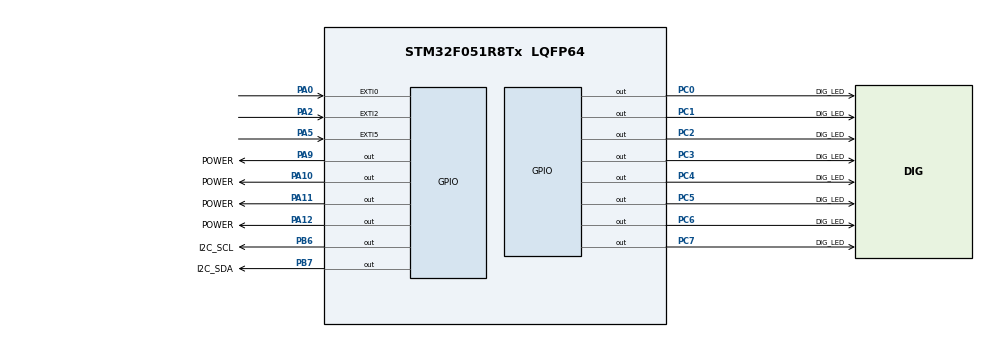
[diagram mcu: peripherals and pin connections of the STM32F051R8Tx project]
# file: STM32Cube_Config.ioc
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Mcu.Family=STM32F0
Mcu.Name=STM32F051R8Tx
Mcu.Package=LQFP64
NVIC.EXTI0_1_IRQn=true\:0\:0\:false\:false\:true\:true\:true\:true
NVIC.EXTI2_3_IRQn=true\:0\:0\:false\:false\:true\:true\:true\:true
NVIC.EXTI4_15_IRQn=true\:0\:0\:false\:false\:true\:true\:true\:true
NVIC.TIM15_IRQn=true\:0\:0\:false\:false\:true\:true\:true\:true
NVIC.TIM2_IRQn=true\:0\:0\:false\:false\:true\:true\:true\:true
NVIC.TIM3_IRQn=true\:0\:0\:false\:false\:true\:true\:true\:true
PA0.GPIO_PuPd=GPIO_PULLUP
PA0.Signal=GPXTI0
PA10.GPIO_Label=POWER
PA10.GPIO_ModeDefaultOutputPP=GPIO_MODE_OUTPUT_PP
PA10.GPIO_PuPd=GPIO_NOPULL
PA10.GPIO_Speed=GPIO_SPEED_FREQ_LOW
PA10.PinState=GPIO_PIN_SET
PA10.Signal=GPIO_Output
PA11.GPIO_Label=POWER
PA11.GPIO_ModeDefaultOutputPP=GPIO_MODE_OUTPUT_PP
PA11.GPIO_PuPd=GPIO_NOPULL
PA11.GPIO_Speed=GPIO_SPEED_FREQ_LOW
PA11.PinState=GPIO_PIN_SET
PA11.Signal=GPIO_Output
PA12.GPIO_Label=POWER
PA12.GPIO_ModeDefaultOutputPP=GPIO_MODE_OUTPUT_PP
PA12.GPIO_PuPd=GPIO_NOPULL
PA12.GPIO_Speed=GPIO_SPEED_FREQ_LOW
PA12.PinState=GPIO_PIN_SET
PA12.Signal=GPIO_Output
PA13.Mode=Serial_Wire
PA13.Signal=SYS_SWDIO
PA14.Mode=Serial_Wire
PA14.Signal=SYS_SWCLK
PA2.GPIO_PuPd=GPIO_PULLUP
PA2.Signal=GPXTI2
PA5.GPIO_PuPd=GPIO_PULLUP
PA5.Signal=GPXTI5
PA9.GPIO_Label=POWER
PA9.GPIO_ModeDefaultOutputPP=GPIO_MODE_OUTPUT_PP
PA9.GPIO_PuPd=GPIO_NOPULL
PA9.GPIO_Speed=GPIO_SPEED_FREQ_LOW
PA9.PinState=GPIO_PIN_SET
PA9.Signal=GPIO_Output
PB6.GPIO_Label=I2C_SCL
PB6.GPIO_ModeDefaultOutputPP=GPIO_MODE_OUTPUT_OD
PB6.GPIO_PuPd=GPIO_NOPULL
PB6.PinState=GPIO_PIN_SET
PB6.Signal=GPIO_Output
PB7.GPIO_Label=I2C_SDA
PB7.GPIO_ModeDefaultOutputPP=GPIO_MODE_OUTPUT_OD
PB7.GPIO_PuPd=GPIO_NOPULL
PB7.PinState=GPIO_PIN_SET
PB7.Signal=GPIO_Output
PC0.GPIO_Label=DIG_LED
PC0.GPIO_ModeDefaultOutputPP=GPIO_MODE_OUTPUT_PP
PC0.GPIO_PuPd=GPIO_NOPULL
PC0.GPIO_Speed=GPIO_SPEED_FREQ_LOW
PC0.PinState=GPIO_PIN_SET
PC0.Signal=GPIO_Output
PC1.GPIO_Label=DIG_LED
PC1.GPIO_ModeDefaultOutputPP=GPIO_MODE_OUTPUT_PP
PC1.GPIO_PuPd=GPIO_NOPULL
PC1.GPIO_Speed=GPIO_SPEED_FREQ_LOW
PC1.PinState=GPIO_PIN_SET
PC1.Signal=GPIO_Output
PC2.GPIO_Label=DIG_LED
PC2.GPIO_ModeDefaultOutputPP=GPIO_MODE_OUTPUT_PP
PC2.GPIO_PuPd=GPIO_NOPULL
PC2.GPIO_Speed=GPIO_SPEED_FREQ_LOW
PC2.PinState=GPIO_PIN_SET
PC2.Signal=GPIO_Output
PC3.GPIO_Label=DIG_LED
PC3.GPIO_ModeDefaultOutputPP=GPIO_MODE_OUTPUT_PP
PC3.GPIO_PuPd=GPIO_NOPULL
PC3.GPIO_Speed=GPIO_SPEED_FREQ_LOW
PC3.PinState=GPIO_PIN_SET
PC3.Signal=GPIO_Output
PC4.GPIO_Label=DIG_LED
PC4.GPIO_ModeDefaultOutputPP=GPIO_MODE_OUTPUT_PP
PC4.GPIO_PuPd=GPIO_NOPULL
PC4.GPIO_Speed=GPIO_SPEED_FREQ_LOW
PC4.PinState=GPIO_PIN_SET
PC4.Signal=GPIO_Output
PC5.GPIO_Label=DIG_LED
PC5.GPIO_ModeDefaultOutputPP=GPIO_MODE_OUTPUT_PP
PC5.GPIO_PuPd=GPIO_NOPULL
PC5.GPIO_Speed=GPIO_SPEED_FREQ_LOW
PC5.PinState=GPIO_PIN_SET
PC5.Signal=GPIO_Output
PC6.GPIO_Label=DIG_LED
PC6.GPIO_ModeDefaultOutputPP=GPIO_MODE_OUTPUT_PP
PC6.GPIO_PuPd=GPIO_NOPULL
PC6.GPIO_Speed=GPIO_SPEED_FREQ_LOW
PC6.PinState=GPIO_PIN_SET
PC6.Signal=GPIO_Output
PC7.GPIO_Label=DIG_LED
PC7.GPIO_ModeDefaultOutputPP=GPIO_MODE_OUTPUT_PP
PC7.GPIO_PuPd=GPIO_NOPULL
PC7.GPIO_Speed=GPIO_SPEED_FREQ_LOW
PC7.PinState=GPIO_PIN_SET
PC7.Signal=GPIO_Output
ProjectManager.HeapSize=0x200
ProjectManager.StackSize=0x400
ProjectManager.TargetToolchain=MDK-ARM V5.32
TIM15.Period=199
TIM15.Prescaler=7999
TIM2.Period=49
TIM2.Prescaler=799
TIM3.Period=19999
TIM3.Prescaler=23999
VP_TIM15_VS_ClockSourceINT.Mode=Internal
VP_TIM2_VS_ClockSourceINT.Mode=Internal
VP_TIM3_VS_ClockSourceINT.Mode=Internal
board=custom

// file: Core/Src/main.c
/* USER CODE BEGIN Header */
/**
  ******************************************************************************
  * @file           : main.c
  * @brief          : Main program body
  ******************************************************************************
  * @attention
  *
  * Copyright (c) 2023 STMicroelectronics.
  * All rights reserved.
  *
  * This software is licensed under terms that can be found in the LICENSE file
  * in the root directory of this software component.
  * If no LICENSE file comes with this software, it is provided AS-IS.
  *
  ******************************************************************************
  */
/* USER CODE END Header */
#include "main.h"

/* USER CODE BEGIN Includes */
#include "I2C_SW.h"
#include "DS1307_CONTROL.h"
/* USER CODE END Includes */

/* USER CODE BEGIN PD */
//all the led value above is not toggle the dp led
#define LED_VALUE_0 ((uint16_t)0XC0)
#define LED_VALUE_1 ((uint16_t)0XF9)
#define LED_VALUE_2 ((uint16_t)0XA4)
#define LED_VALUE_3 ((uint16_t)0XB0)
#define LED_VALUE_4 ((uint16_t)0X99)
#define LED_VALUE_5 ((uint16_t)0X92)
#define LED_VALUE_6 ((uint16_t)0X82)
#define LED_VALUE_7 ((uint16_t)0XF8)
#define LED_VALUE_8 ((uint16_t)0X80)
#define LED_VALUE_9 ((uint16_t)0X90)
#define LED_VALUE_A ((uint16_t)0X88)
#define LED_VALUE_B ((uint16_t)0X83)
#define LED_VALUE_C ((uint16_t)0XC6)
#define LED_VALUE_D ((uint16_t)0XA1)
#define LED_VALUE_E ((uint16_t)0X86)
#define LED_VALUE_F ((uint16_t)0X8E)
const uint16_t led_array[16] = {LED_VALUE_0,LED_VALUE_1, LED_VALUE_2,
LED_VALUE_3, LED_VALUE_4, LED_VALUE_5, LED_VALUE_6, LED_VALUE_7, LED_VALUE_8,
LED_VALUE_9,LED_VALUE_A,LED_VALUE_B,LED_VALUE_C, LED_VALUE_D,LED_VALUE_E,LED_VALUE_F};
uint8_t min,hours ;

uint8_t digits[4] = {0};
/* USER CODE END PD */

TIM_HandleTypeDef htim2;
TIM_HandleTypeDef htim3;
TIM_HandleTypeDef htim15;

void SystemClock_Config(void);
static void MX_GPIO_Init(void);
static void MX_TIM2_Init(void);
static void MX_TIM15_Init(void);
static void MX_TIM3_Init(void);
/* USER CODE BEGIN PFP */
void set_led(void)
{
	digits[2]=min/10;
	digits[3]=min%10;
	digits[0]=hours/10;
	digits[1]=hours%10;
	__NOP();
	__NOP();
	__NOP();
	__NOP();
}
void get_time(void)
{
	min = DS1307_getMin();
	hours = DS1307_getHour();
}
/* USER CODE END PFP */

int main(void)
{

  /* MCU Configuration--------------------------------------------------------*/

  /* Reset of all peripherals, Initializes the Flash interface and the Systick. */
  HAL_Init();

  /* Configure the system clock */
  SystemClock_Config();

  /* Initialize all configured peripherals */
  MX_GPIO_Init();
  MX_TIM2_Init();
  MX_TIM15_Init();
  MX_TIM3_Init();
  /* USER CODE BEGIN 2 */
	HAL_TIM_Base_Start_IT(&htim2);
	HAL_TIM_Base_Start_IT(&htim15);
	DS1307_WriteByte(0x07,0x10);
  /* USER CODE END 2 */

  /* Infinite loop */
  /* USER CODE BEGIN WHILE */
  while (1)
  {
		get_time();
		set_led();
    /* USER CODE END WHILE */

  }
}

void SystemClock_Config(void)
{
  RCC_OscInitTypeDef RCC_OscInitStruct = {0};
  RCC_ClkInitTypeDef RCC_ClkInitStruct = {0};

  /** Initializes the RCC Oscillators according to the specified parameters
  * in the RCC_OscInitTypeDef structure.
  */
  RCC_OscInitStruct.OscillatorType = RCC_OSCILLATORTYPE_HSI;
  RCC_OscInitStruct.HSIState = RCC_HSI_ON;
  RCC_OscInitStruct.HSICalibrationValue = RCC_HSICALIBRATION_DEFAULT;
  RCC_OscInitStruct.PLL.PLLState = RCC_PLL_NONE;
  if (HAL_RCC_OscConfig(&RCC_OscInitStruct) != HAL_OK)
  {
    Error_Handler();
  }

  /** Initializes the CPU, AHB and APB buses clocks
  */
  RCC_ClkInitStruct.ClockType = RCC_CLOCKTYPE_HCLK|RCC_CLOCKTYPE_SYSCLK
                              |RCC_CLOCKTYPE_PCLK1;
  RCC_ClkInitStruct.SYSCLKSource = RCC_SYSCLKSOURCE_HSI;
  RCC_ClkInitStruct.AHBCLKDivider = RCC_SYSCLK_DIV1;
  RCC_ClkInitStruct.APB1CLKDivider = RCC_HCLK_DIV1;

  if (HAL_RCC_ClockConfig(&RCC_ClkInitStruct, FLASH_LATENCY_0) != HAL_OK)
  {
    Error_Handler();
  }
}

static void MX_TIM2_Init(void)
{

  TIM_ClockConfigTypeDef sClockSourceConfig = {0};
  TIM_MasterConfigTypeDef sMasterConfig = {0};

  htim2.Instance = TIM2;
  htim2.Init.Prescaler = 799;
  htim2.Init.CounterMode = TIM_COUNTERMODE_UP;
  htim2.Init.Period = 49;
  htim2.Init.ClockDivision = TIM_CLOCKDIVISION_DIV1;
  htim2.Init.AutoReloadPreload = TIM_AUTORELOAD_PRELOAD_DISABLE;
  if (HAL_TIM_Base_Init(&htim2) != HAL_OK)
  {
    Error_Handler();
  }
  sClockSourceConfig.ClockSource = TIM_CLOCKSOURCE_INTERNAL;
  if (HAL_TIM_ConfigClockSource(&htim2, &sClockSourceConfig) != HAL_OK)
  {
    Error_Handler();
  }
  sMasterConfig.MasterOutputTrigger = TIM_TRGO_RESET;
  sMasterConfig.MasterSlaveMode = TIM_MASTERSLAVEMODE_DISABLE;
  if (HAL_TIMEx_MasterConfigSynchronization(&htim2, &sMasterConfig) != HAL_OK)
  {
    Error_Handler();
  }

}

static void MX_TIM3_Init(void)
{

  TIM_ClockConfigTypeDef sClockSourceConfig = {0};
  TIM_MasterConfigTypeDef sMasterConfig = {0};

  htim3.Instance = TIM3;
  htim3.Init.Prescaler = 23999;
  htim3.Init.CounterMode = TIM_COUNTERMODE_UP;
  htim3.Init.Period = 19999;
  htim3.Init.ClockDivision = TIM_CLOCKDIVISION_DIV1;
  htim3.Init.AutoReloadPreload = TIM_AUTORELOAD_PRELOAD_DISABLE;
  if (HAL_TIM_Base_Init(&htim3) != HAL_OK)
  {
    Error_Handler();
  }
  sClockSourceConfig.ClockSource = TIM_CLOCKSOURCE_INTERNAL;
  if (HAL_TIM_ConfigClockSource(&htim3, &sClockSourceConfig) != HAL_OK)
  {
    Error_Handler();
  }
  sMasterConfig.MasterOutputTrigger = TIM_TRGO_RESET;
  sMasterConfig.MasterSlaveMode = TIM_MASTERSLAVEMODE_DISABLE;
  if (HAL_TIMEx_MasterConfigSynchronization(&htim3, &sMasterConfig) != HAL_OK)
  {
    Error_Handler();
  }

}

static void MX_TIM15_Init(void)
{

  TIM_ClockConfigTypeDef sClockSourceConfig = {0};
  TIM_MasterConfigTypeDef sMasterConfig = {0};

  htim15.Instance = TIM15;
  htim15.Init.Prescaler = 7999;
  htim15.Init.CounterMode = TIM_COUNTERMODE_UP;
  htim15.Init.Period = 199;
  htim15.Init.ClockDivision = TIM_CLOCKDIVISION_DIV1;
  htim15.Init.RepetitionCounter = 0;
  htim15.Init.AutoReloadPreload = TIM_AUTORELOAD_PRELOAD_DISABLE;
  if (HAL_TIM_Base_Init(&htim15) != HAL_OK)
  {
    Error_Handler();
  }
  sClockSourceConfig.ClockSource = TIM_CLOCKSOURCE_INTERNAL;
  if (HAL_TIM_ConfigClockSource(&htim15, &sClockSourceConfig) != HAL_OK)
  {
    Error_Handler();
  }
  sMasterConfig.MasterOutputTrigger = TIM_TRGO_RESET;
  sMasterConfig.MasterSlaveMode = TIM_MASTERSLAVEMODE_DISABLE;
  if (HAL_TIMEx_MasterConfigSynchronization(&htim15, &sMasterConfig) != HAL_OK)
  {
    Error_Handler();
  }

}

static void MX_GPIO_Init(void)
{
  GPIO_InitTypeDef GPIO_InitStruct = {0};

  /* GPIO Ports Clock Enable */
  __HAL_RCC_GPIOC_CLK_ENABLE();
  __HAL_RCC_GPIOA_CLK_ENABLE();
  __HAL_RCC_GPIOB_CLK_ENABLE();

  /*Configure GPIO pin Output Level */
  HAL_GPIO_WritePin(GPIOC, DIG_LED_Pin|DIG_LEDC1_Pin|DIG_LEDC2_Pin|DIG_LEDC3_Pin
                          |DIG_LEDC4_Pin|DIG_LEDC5_Pin|DIG_LEDC6_Pin|DIG_LEDC7_Pin, GPIO_PIN_SET);

  /*Configure GPIO pin Output Level */
  HAL_GPIO_WritePin(GPIOA, POWER_Pin|POWERA10_Pin|POWERA11_Pin|POWERA12_Pin, GPIO_PIN_SET);

  /*Configure GPIO pin Output Level */
  HAL_GPIO_WritePin(GPIOB, I2C_SCL_Pin|I2C_SDA_Pin, GPIO_PIN_SET);

  /*Configure GPIO pins : DIG_LED_Pin DIG_LEDC1_Pin DIG_LEDC2_Pin DIG_LEDC3_Pin
                           DIG_LEDC4_Pin DIG_LEDC5_Pin DIG_LEDC6_Pin DIG_LEDC7_Pin */
  GPIO_InitStruct.Pin = DIG_LED_Pin|DIG_LEDC1_Pin|DIG_LEDC2_Pin|DIG_LEDC3_Pin
                          |DIG_LEDC4_Pin|DIG_LEDC5_Pin|DIG_LEDC6_Pin|DIG_LEDC7_Pin;
  GPIO_InitStruct.Mode = GPIO_MODE_OUTPUT_PP;
  GPIO_InitStruct.Pull = GPIO_NOPULL;
  GPIO_InitStruct.Speed = GPIO_SPEED_FREQ_LOW;
  HAL_GPIO_Init(GPIOC, &GPIO_InitStruct);

  /*Configure GPIO pins : PA0 PA2 PA5 */
  GPIO_InitStruct.Pin = GPIO_PIN_0|GPIO_PIN_2|GPIO_PIN_5;
  GPIO_InitStruct.Mode = GPIO_MODE_IT_RISING;
  GPIO_InitStruct.Pull = GPIO_PULLUP;
  HAL_GPIO_Init(GPIOA, &GPIO_InitStruct);

  /*Configure GPIO pins : POWER_Pin POWERA10_Pin POWERA11_Pin POWERA12_Pin */
  GPIO_InitStruct.Pin = POWER_Pin|POWERA10_Pin|POWERA11_Pin|POWERA12_Pin;
  GPIO_InitStruct.Mode = GPIO_MODE_OUTPUT_PP;
  GPIO_InitStruct.Pull = GPIO_NOPULL;
  GPIO_InitStruct.Speed = GPIO_SPEED_FREQ_LOW;
  HAL_GPIO_Init(GPIOA, &GPIO_InitStruct);

  /*Configure GPIO pins : I2C_SCL_Pin I2C_SDA_Pin */
  GPIO_InitStruct.Pin = I2C_SCL_Pin|I2C_SDA_Pin;
  GPIO_InitStruct.Mode = GPIO_MODE_OUTPUT_OD;
  GPIO_InitStruct.Pull = GPIO_NOPULL;
  GPIO_InitStruct.Speed = GPIO_SPEED_FREQ_LOW;
  HAL_GPIO_Init(GPIOB, &GPIO_InitStruct);

  /* EXTI interrupt init*/
  HAL_NVIC_SetPriority(EXTI0_1_IRQn, 0, 0);
  HAL_NVIC_EnableIRQ(EXTI0_1_IRQn);

  HAL_NVIC_SetPriority(EXTI2_3_IRQn, 0, 0);
  HAL_NVIC_EnableIRQ(EXTI2_3_IRQn);

  HAL_NVIC_SetPriority(EXTI4_15_IRQn, 0, 0);
  HAL_NVIC_EnableIRQ(EXTI4_15_IRQn);

}

void Error_Handler(void)
{
  __disable_irq();
  while (1)
  {
  }
}
